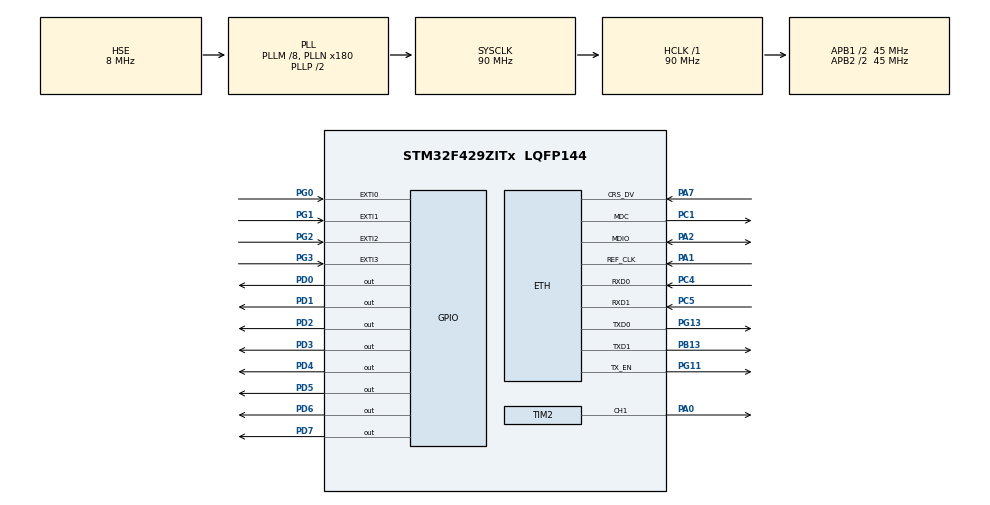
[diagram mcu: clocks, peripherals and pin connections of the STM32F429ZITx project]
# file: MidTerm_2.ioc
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ETH.MediaInterface=HAL_ETH_RMII_MODE
LWIP.BSP.number=1
LWIP.GATEWAY_ADDRESS=172.030.001.255
LWIP.IP_ADDRESS=172.030.001.011
LWIP.LWIP_DHCP=0
LWIP.NETMASK_ADDRESS=255.255.255.000
LWIP.Version=v2.1.2_Cube
LWIP0.BSP.STBoard=false
LWIP0.BSP.api=BSP_COMPONENT_DRIVER
LWIP0.BSP.component=LAN8742
LWIP0.BSP.instance=LAN8742
LWIP0.BSP.name=Driver_PHY
LWIP0.BSP.semaphore=S_LAN8742
LWIP0.BSP.solution=LAN8742
Mcu.Family=STM32F4
Mcu.Name=STM32F429ZITx
Mcu.Package=LQFP144
NVIC.EXTI0_IRQn=true\:0\:0\:false\:false\:true\:true\:true\:true
NVIC.EXTI1_IRQn=true\:0\:0\:false\:false\:true\:true\:true\:true
NVIC.EXTI2_IRQn=true\:0\:0\:false\:false\:true\:true\:true\:true
NVIC.EXTI3_IRQn=true\:0\:0\:false\:false\:true\:true\:true\:true
NVIC.PriorityGroup=NVIC_PRIORITYGROUP_4
NVIC.TIM2_IRQn=true\:0\:0\:false\:false\:true\:true\:true\:true
PA0/WKUP.Signal=S_TIM2_CH1_ETR
PA1.Mode=RMII
PA1.Signal=ETH_REF_CLK
PA13.Mode=Serial_Wire
PA13.Signal=SYS_JTMS-SWDIO
PA14.Mode=Serial_Wire
PA14.Signal=SYS_JTCK-SWCLK
PA2.Mode=RMII
PA2.Signal=ETH_MDIO
PA7.Mode=RMII
PA7.Signal=ETH_CRS_DV
PB13.Mode=RMII
PB13.Signal=ETH_TXD1
PC1.Mode=RMII
PC1.Signal=ETH_MDC
PC4.Mode=RMII
PC4.Signal=ETH_RXD0
PC5.Mode=RMII
PC5.Signal=ETH_RXD1
PD0.GPIO_ModeDefaultOutputPP=GPIO_MODE_OUTPUT_PP
PD0.GPIO_PuPd=GPIO_PULLUP
PD0.GPIO_Speed=GPIO_SPEED_FREQ_HIGH
PD0.PinState=GPIO_PIN_RESET
PD0.Signal=GPIO_Output
PD1.GPIO_ModeDefaultOutputPP=GPIO_MODE_OUTPUT_PP
PD1.GPIO_PuPd=GPIO_PULLUP
PD1.GPIO_Speed=GPIO_SPEED_FREQ_HIGH
PD1.PinState=GPIO_PIN_RESET
PD1.Signal=GPIO_Output
PD2.GPIO_ModeDefaultOutputPP=GPIO_MODE_OUTPUT_PP
PD2.GPIO_PuPd=GPIO_PULLUP
PD2.GPIO_Speed=GPIO_SPEED_FREQ_HIGH
PD2.PinState=GPIO_PIN_RESET
PD2.Signal=GPIO_Output
PD3.GPIO_ModeDefaultOutputPP=GPIO_MODE_OUTPUT_PP
PD3.GPIO_PuPd=GPIO_PULLUP
PD3.GPIO_Speed=GPIO_SPEED_FREQ_HIGH
PD3.PinState=GPIO_PIN_RESET
PD3.Signal=GPIO_Output
PD4.GPIO_ModeDefaultOutputPP=GPIO_MODE_OUTPUT_PP
PD4.GPIO_PuPd=GPIO_PULLUP
PD4.GPIO_Speed=GPIO_SPEED_FREQ_HIGH
PD4.PinState=GPIO_PIN_RESET
PD4.Signal=GPIO_Output
PD5.GPIO_ModeDefaultOutputPP=GPIO_MODE_OUTPUT_PP
PD5.GPIO_PuPd=GPIO_PULLUP
PD5.GPIO_Speed=GPIO_SPEED_FREQ_HIGH
PD5.PinState=GPIO_PIN_RESET
PD5.Signal=GPIO_Output
PD6.GPIO_ModeDefaultOutputPP=GPIO_MODE_OUTPUT_PP
PD6.GPIO_PuPd=GPIO_PULLUP
PD6.GPIO_Speed=GPIO_SPEED_FREQ_HIGH
PD6.PinState=GPIO_PIN_RESET
PD6.Signal=GPIO_Output
PD7.GPIO_ModeDefaultOutputPP=GPIO_MODE_OUTPUT_PP
PD7.GPIO_PuPd=GPIO_PULLUP
PD7.GPIO_Speed=GPIO_SPEED_FREQ_HIGH
PD7.PinState=GPIO_PIN_RESET
PD7.Signal=GPIO_Output
PG0.GPIO_ModeDefaultEXTI=GPIO_MODE_IT_FALLING
PG0.GPIO_PuPd=GPIO_NOPULL
PG0.Signal=GPXTI0
PG1.GPIO_ModeDefaultEXTI=GPIO_MODE_IT_FALLING
PG1.GPIO_PuPd=GPIO_NOPULL
PG1.Signal=GPXTI1
PG11.Mode=RMII
PG11.Signal=ETH_TX_EN
PG13.Mode=RMII
PG13.Signal=ETH_TXD0
PG2.GPIO_ModeDefaultEXTI=GPIO_MODE_IT_FALLING
PG2.GPIO_PuPd=GPIO_NOPULL
PG2.Signal=GPXTI2
PG3.GPIO_ModeDefaultEXTI=GPIO_MODE_IT_FALLING
PG3.GPIO_PuPd=GPIO_NOPULL
PG3.Signal=GPXTI3
PH0/OSC_IN.Mode=HSE-External-Clock-Source
PH0/OSC_IN.Signal=RCC_OSC_IN
PH1/OSC_OUT.Mode=HSE-External-Clock-Source
PH1/OSC_OUT.Signal=RCC_OSC_OUT
ProjectManager.HeapSize=0x200
ProjectManager.StackSize=0x400
ProjectManager.TargetToolchain=STM32CubeIDE
RCC.48MHZClocksFreq_Value=45000000
RCC.AHBFreq_Value=90000000
RCC.APB1CLKDivider=RCC_HCLK_DIV2
RCC.APB1Freq_Value=45000000
RCC.APB1TimFreq_Value=90000000
RCC.APB2CLKDivider=RCC_HCLK_DIV2
RCC.APB2Freq_Value=45000000
RCC.APB2TimFreq_Value=90000000
RCC.CortexFreq_Value=90000000
RCC.HCLKFreq_Value=90000000
RCC.HSE_VALUE=8000000
RCC.HSI_VALUE=16000000
RCC.LSE_VALUE=32768
RCC.PLLM=8
RCC.PLLN=180
RCC.PLLSourceVirtual=RCC_PLLSOURCE_HSE
RCC.SYSCLKFreq_VALUE=90000000
RCC.SYSCLKSource=RCC_SYSCLKSOURCE_PLLCLK
RCC.VCOOutputFreq_Value=180000000
SH.S_TIM2_CH1_ETR.0=TIM2_CH1,Output Compare1 CH1
TIM2.Channel-Output\ Compare1\ CH1=TIM_CHANNEL_1
TIM2.Period=9999
TIM2.Pulse-Output\ Compare1\ CH1=999
VP_LWIP_VS_Enabled.Mode=Enabled
VP_TIM2_VS_ClockSourceINT.Mode=Internal
board=custom

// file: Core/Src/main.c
/* USER CODE BEGIN Header */
/**
  ******************************************************************************
  * @file           : main.c
  * @brief          : Main program body
  ******************************************************************************
  * @attention
  *
  * Copyright (c) 2023 STMicroelectronics.
  * All rights reserved.
  *
  * This software is licensed under terms that can be found in the LICENSE file
  * in the root directory of this software component.
  * If no LICENSE file comes with this software, it is provided AS-IS.
  *
  ******************************************************************************
  */
/* USER CODE END Header */
#include "main.h"
#include "lwip.h"

/* USER CODE BEGIN Includes */

#include "tcp_echoclient.h"

/* USER CODE END Includes */

TIM_HandleTypeDef htim2;

/* USER CODE BEGIN PV */

struct netif gnetif;

/* USER CODE END PV */

void SystemClock_Config(void);
static void MX_GPIO_Init(void);
static void MX_TIM2_Init(void);
/* USER CODE BEGIN PFP */

void LED_OnOff(int, int);
void User_notification(struct netif *netif);

/* USER CODE END PFP */

int main(void)
{

  /* MCU Configuration--------------------------------------------------------*/

  /* Reset of all peripherals, Initializes the Flash interface and the Systick. */
  HAL_Init();

  /* Configure the system clock */
  SystemClock_Config();

  /* Initialize all configured peripherals */
  MX_GPIO_Init();
  MX_LWIP_Init();
  MX_TIM2_Init();
  HAL_TIM_Base_Start_IT(&htim2);
  HAL_TIM_OC_Start_IT(&htim2, TIM_CHANNEL_1);
  /* USER CODE BEGIN 2 */

  LED_OnOff(LED_ALL, 500);
  User_notification(&gnetif);
  tcp_echoclient_connect();

  /* USER CODE END 2 */

  /* Infinite loop */
  /* USER CODE BEGIN WHILE */
  while (1)
  {
	  MX_LWIP_Process();

    /* USER CODE END WHILE */

  }
}

void SystemClock_Config(void)
{
  RCC_OscInitTypeDef RCC_OscInitStruct = {0};
  RCC_ClkInitTypeDef RCC_ClkInitStruct = {0};

  /** Configure the main internal regulator output voltage
  */
  __HAL_RCC_PWR_CLK_ENABLE();
  __HAL_PWR_VOLTAGESCALING_CONFIG(PWR_REGULATOR_VOLTAGE_SCALE3);

  /** Initializes the RCC Oscillators according to the specified parameters
  * in the RCC_OscInitTypeDef structure.
  */
  RCC_OscInitStruct.OscillatorType = RCC_OSCILLATORTYPE_HSE;
  RCC_OscInitStruct.HSEState = RCC_HSE_BYPASS;
  RCC_OscInitStruct.PLL.PLLState = RCC_PLL_ON;
  RCC_OscInitStruct.PLL.PLLSource = RCC_PLLSOURCE_HSE;
  RCC_OscInitStruct.PLL.PLLM = 8;
  RCC_OscInitStruct.PLL.PLLN = 180;
  RCC_OscInitStruct.PLL.PLLP = RCC_PLLP_DIV2;
  RCC_OscInitStruct.PLL.PLLQ = 4;
  if (HAL_RCC_OscConfig(&RCC_OscInitStruct) != HAL_OK)
  {
    Error_Handler();
  }

  /** Activate the Over-Drive mode
  */
  if (HAL_PWREx_EnableOverDrive() != HAL_OK)
  {
    Error_Handler();
  }

  /** Initializes the CPU, AHB and APB buses clocks
  */
  RCC_ClkInitStruct.ClockType = RCC_CLOCKTYPE_HCLK|RCC_CLOCKTYPE_SYSCLK
                              |RCC_CLOCKTYPE_PCLK1|RCC_CLOCKTYPE_PCLK2;
  RCC_ClkInitStruct.SYSCLKSource = RCC_SYSCLKSOURCE_PLLCLK;
  RCC_ClkInitStruct.AHBCLKDivider = RCC_SYSCLK_DIV1;
  RCC_ClkInitStruct.APB1CLKDivider = RCC_HCLK_DIV2;
  RCC_ClkInitStruct.APB2CLKDivider = RCC_HCLK_DIV2;

  if (HAL_RCC_ClockConfig(&RCC_ClkInitStruct, FLASH_LATENCY_2) != HAL_OK)
  {
    Error_Handler();
  }
}

static void MX_TIM2_Init(void)
{

  TIM_ClockConfigTypeDef sClockSourceConfig = {0};
  TIM_MasterConfigTypeDef sMasterConfig = {0};
  TIM_OC_InitTypeDef sConfigOC = {0};

  htim2.Instance = TIM2;
  htim2.Init.Prescaler = 0;
  htim2.Init.CounterMode = TIM_COUNTERMODE_UP;
  htim2.Init.Period = 9999;
  htim2.Init.ClockDivision = TIM_CLOCKDIVISION_DIV1;
  htim2.Init.AutoReloadPreload = TIM_AUTORELOAD_PRELOAD_DISABLE;
  if (HAL_TIM_Base_Init(&htim2) != HAL_OK)
  {
    Error_Handler();
  }
  sClockSourceConfig.ClockSource = TIM_CLOCKSOURCE_INTERNAL;
  if (HAL_TIM_ConfigClockSource(&htim2, &sClockSourceConfig) != HAL_OK)
  {
    Error_Handler();
  }
  if (HAL_TIM_OC_Init(&htim2) != HAL_OK)
  {
    Error_Handler();
  }
  sMasterConfig.MasterOutputTrigger = TIM_TRGO_RESET;
  sMasterConfig.MasterSlaveMode = TIM_MASTERSLAVEMODE_DISABLE;
  if (HAL_TIMEx_MasterConfigSynchronization(&htim2, &sMasterConfig) != HAL_OK)
  {
    Error_Handler();
  }
  sConfigOC.OCMode = TIM_OCMODE_TIMING;
  sConfigOC.Pulse = 999;
  sConfigOC.OCPolarity = TIM_OCPOLARITY_HIGH;
  sConfigOC.OCFastMode = TIM_OCFAST_DISABLE;
  if (HAL_TIM_OC_ConfigChannel(&htim2, &sConfigOC, TIM_CHANNEL_1) != HAL_OK)
  {
    Error_Handler();
  }
  HAL_TIM_MspPostInit(&htim2);

}

static void MX_GPIO_Init(void)
{
  GPIO_InitTypeDef GPIO_InitStruct = {0};

  /* GPIO Ports Clock Enable */
  __HAL_RCC_GPIOH_CLK_ENABLE();
  __HAL_RCC_GPIOC_CLK_ENABLE();
  __HAL_RCC_GPIOA_CLK_ENABLE();
  __HAL_RCC_GPIOG_CLK_ENABLE();
  __HAL_RCC_GPIOB_CLK_ENABLE();
  __HAL_RCC_GPIOD_CLK_ENABLE();

  /*Configure GPIO pin Output Level */
  HAL_GPIO_WritePin(GPIOD, GPIO_PIN_0|GPIO_PIN_1|GPIO_PIN_2|GPIO_PIN_3
                          |GPIO_PIN_4|GPIO_PIN_5|GPIO_PIN_6|GPIO_PIN_7, GPIO_PIN_RESET);

  /*Configure GPIO pins : PG0 PG1 PG2 PG3 */
  GPIO_InitStruct.Pin = GPIO_PIN_0|GPIO_PIN_1|GPIO_PIN_2|GPIO_PIN_3;
  GPIO_InitStruct.Mode = GPIO_MODE_IT_FALLING;
  GPIO_InitStruct.Pull = GPIO_NOPULL;
  HAL_GPIO_Init(GPIOG, &GPIO_InitStruct);

  /*Configure GPIO pins : PD0 PD1 PD2 PD3
                           PD4 PD5 PD6 PD7 */
  GPIO_InitStruct.Pin = GPIO_PIN_0|GPIO_PIN_1|GPIO_PIN_2|GPIO_PIN_3
                          |GPIO_PIN_4|GPIO_PIN_5|GPIO_PIN_6|GPIO_PIN_7;
  GPIO_InitStruct.Mode = GPIO_MODE_OUTPUT_PP;
  GPIO_InitStruct.Pull = GPIO_PULLUP;
  GPIO_InitStruct.Speed = GPIO_SPEED_FREQ_HIGH;
  HAL_GPIO_Init(GPIOD, &GPIO_InitStruct);

  /* EXTI interrupt init*/
  HAL_NVIC_SetPriority(EXTI0_IRQn, 0, 0);
  HAL_NVIC_EnableIRQ(EXTI0_IRQn);

  HAL_NVIC_SetPriority(EXTI1_IRQn, 0, 0);
  HAL_NVIC_EnableIRQ(EXTI1_IRQn);

  HAL_NVIC_SetPriority(EXTI2_IRQn, 0, 0);
  HAL_NVIC_EnableIRQ(EXTI2_IRQn);

  HAL_NVIC_SetPriority(EXTI3_IRQn, 0, 0);
  HAL_NVIC_EnableIRQ(EXTI3_IRQn);

}

/* USER CODE BEGIN 4 */

void LED_OnOff(int led, int interval)
{
	HAL_GPIO_WritePin(GPIO_LED, led, GPIO_PIN_SET );
	HAL_Delay(interval);
	HAL_GPIO_WritePin(GPIO_LED, led, GPIO_PIN_RESET );
}
void User_notification(struct netif *netif)
{
	if (netif_is_up(netif)) {
		HAL_GPIO_WritePin(GPIO_LED, LED7, GPIO_PIN_SET);
	}
	else {
		HAL_GPIO_WritePin(GPIO_LED, LED8, GPIO_PIN_SET);
	}
}
void HAL_TIM_PeriodElapsedCallback(TIM_HandleTypeDef *htim)
{
	if ( htim->Instance == TIM5) HAL_GPIO_WritePin(GPIO_LED, LED_ALL, GPIO_PIN_SET);
}
void HAL_TIM_OC_DelayElapsedCallback(TIM_HandleTypeDef *htim)
{
	if ( htim->Instance == TIM5) HAL_GPIO_WritePin(GPIO_LED, LED_ALL, GPIO_PIN_RESET);
}

/* USER CODE END 4 */

void Error_Handler(void)
{
  __disable_irq();
  while (1)
  {
  }
}
